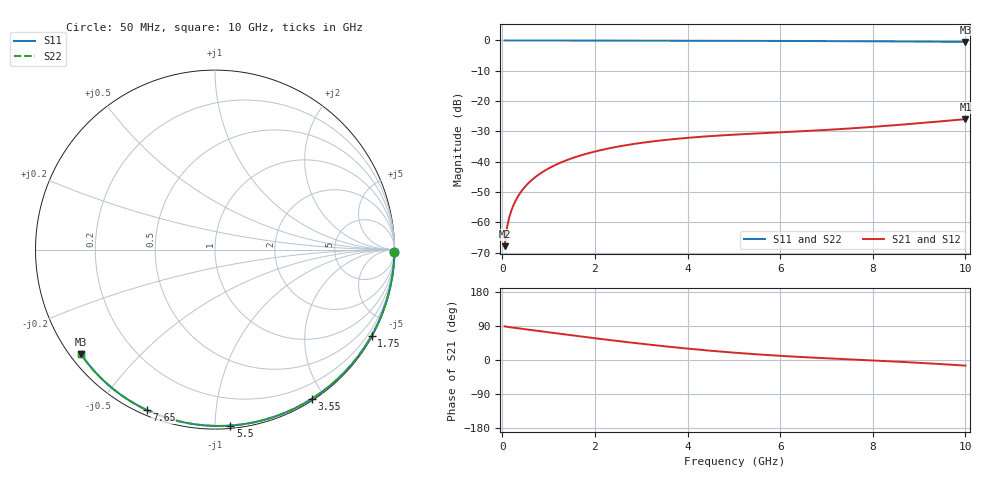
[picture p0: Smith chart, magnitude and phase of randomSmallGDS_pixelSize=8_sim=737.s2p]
! freq	dB(S11)	phase(S11)	dB(S12)	phase(S12)
!  dB(S21)	phase(S21)	dB(S22)	phase(S22)
!S-par simulation data
#  GHz  S  DB  R 50
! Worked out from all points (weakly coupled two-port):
!   200 points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, 50 MHz to 10 GHz, reference 50 ohm
!   highest |S21| = -25.97 dB at 10 GHz (marker M1); lowest = -67.9 dB at 50 MHz (marker M2)
!   lowest |S11| = -0.5 dB at 10 GHz (marker M3), VSWR 36.71, Z = 1.52 - j17.2 ohm
!   |S11| at or under -10 dB: nowhere
!   |S22| runs from -0.5 to 0.0 dB; largest |S21 - S12| = 0
!   S11 on the Smith chart (normalised r, x): 50 MHz: open; 1.75 GHz: 0.03, -3.89; 3.55 GHz: 0.02, -1.84; 5.5 GHz: 0.02, -1.09; 7.65 GHz: 0.02, -0.66; 10 GHz: 0.03, -0.34
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0.05  -0.00 -0.8  -67.88 88.8  -67.88 88.8  -0.00 -0.8
0.1  -0.00 -1.7  -61.89 87.7  -61.89 87.7  -0.00 -1.7
0.15  -0.00 -2.5  -58.41 86.8  -58.41 86.8  -0.00 -2.5
0.2  -0.00 -3.4  -55.95 85.9  -55.95 85.9  -0.00 -3.4
0.25  -0.00 -4.2  -54.04 85.1  -54.04 85.1  -0.00 -4.2
0.35  -0.00 -5.9  -51.16 83.5  -51.16 83.5  -0.00 -5.9
0.5  -0.01 -8.4  -48.11 81.1  -48.11 81.1  -0.01 -8.4
0.7  -0.01 -11.7  -45.24 78.0  -45.24 78.0  -0.01 -11.7
1  -0.02 -16.6  -42.23 73.2  -42.23 73.2  -0.02 -16.6
1.35  -0.03 -22.4  -39.74 67.6  -39.74 67.6  -0.03 -22.4
1.75  -0.04 -28.8  -37.67 61.3  -37.67 61.3  -0.04 -28.9
2.5  -0.05 -40.8  -35.02 50.0  -35.02 50.0  -0.05 -40.8
3.4  -0.07 -54.7  -33.03 37.5  -33.03 37.5  -0.07 -54.7
3.55  -0.08 -56.9  -32.78 35.6  -32.78 35.6  -0.08 -57.0
4.3  -0.10 -68.0  -31.78 26.6  -31.78 26.6  -0.10 -68.1
5.05  -0.12 -78.7  -31.05 18.9  -31.05 18.9  -0.12 -78.8
5.5  -0.14 -85.0  -30.68 14.9  -30.68 14.9  -0.14 -85.0
6.7  -0.20 -101.0  -29.77 6.3  -29.77 6.3  -0.20 -101.1
7.65  -0.26 -113.1  -28.90 0.8  -28.90 0.8  -0.26 -113.2
8.35  -0.31 -121.8  -28.11 -3.3  -28.11 -3.3  -0.31 -121.9
9.2  -0.39 -132.2  -27.04 -8.8  -27.04 -8.8  -0.39 -132.4
10  -0.47 -142.0  -25.97 -14.8  -25.97 -14.8  -0.47 -142.1
